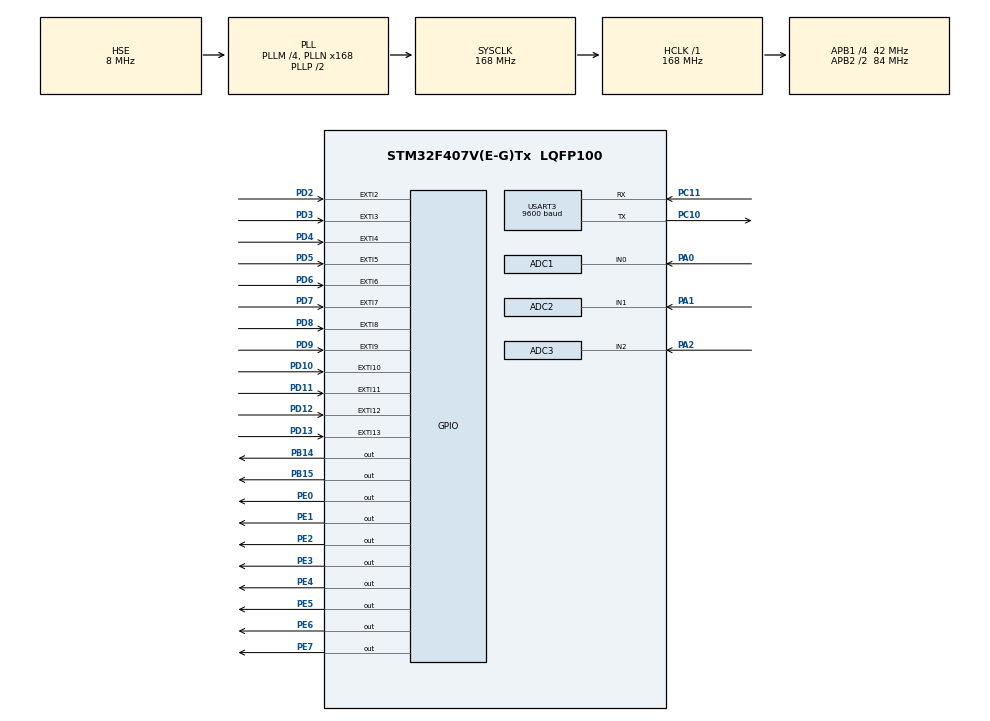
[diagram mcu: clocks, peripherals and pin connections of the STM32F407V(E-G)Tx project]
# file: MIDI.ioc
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ADC1.Channel-0\#ChannelRegularConversion=ADC_CHANNEL_0
ADC1.NbrOfConversionFlag=1
ADC1.Rank-0\#ChannelRegularConversion=1
ADC1.SamplingTime-0\#ChannelRegularConversion=ADC_SAMPLETIME_3CYCLES
ADC1.master=1
ADC2.Channel-0\#ChannelRegularConversion=ADC_CHANNEL_1
ADC2.NbrOfConversionFlag=1
ADC2.Rank-0\#ChannelRegularConversion=1
ADC2.SamplingTime-0\#ChannelRegularConversion=ADC_SAMPLETIME_3CYCLES
ADC3.Channel-0\#ChannelRegularConversion=ADC_CHANNEL_2
ADC3.NbrOfConversionFlag=1
ADC3.Rank-0\#ChannelRegularConversion=1
ADC3.SamplingTime-0\#ChannelRegularConversion=ADC_SAMPLETIME_3CYCLES
Mcu.Family=STM32F4
Mcu.Name=STM32F407V(E-G)Tx
Mcu.Package=LQFP100
NVIC.EXTI15_10_IRQn=true\:0\:0\:false\:false\:true\:true
NVIC.EXTI2_IRQn=true\:0\:0\:false\:false\:true\:true
NVIC.EXTI3_IRQn=true\:0\:0\:false\:false\:true\:true
NVIC.EXTI4_IRQn=true\:0\:0\:false\:false\:true\:true
NVIC.EXTI9_5_IRQn=true\:0\:0\:false\:false\:true\:true
NVIC.PriorityGroup=NVIC_PRIORITYGROUP_4
NVIC.TIM4_IRQn=true\:0\:0\:false\:false\:true\:true
NVIC.USART3_IRQn=true\:0\:0\:false\:false\:true\:true
PA0-WKUP.Signal=ADCx_IN0
PA1.Signal=ADCx_IN1
PA2.Signal=ADCx_IN2
PB14.Signal=GPIO_Output
PB15.Signal=GPIO_Output
PC10.Mode=Asynchronous
PC10.Signal=USART3_TX
PC11.Mode=Asynchronous
PC11.Signal=USART3_RX
PD10.GPIO_ModeDefaultEXTI=GPIO_MODE_IT_RISING_FALLING
PD10.Signal=GPXTI10
PD11.GPIO_ModeDefaultEXTI=GPIO_MODE_IT_RISING_FALLING
PD11.Signal=GPXTI11
PD12.GPIO_ModeDefaultEXTI=GPIO_MODE_IT_RISING_FALLING
PD12.Signal=GPXTI12
PD13.GPIO_ModeDefaultEXTI=GPIO_MODE_IT_RISING_FALLING
PD13.Signal=GPXTI13
PD2.GPIO_ModeDefaultEXTI=GPIO_MODE_IT_RISING_FALLING
PD2.Signal=GPXTI2
PD3.GPIO_ModeDefaultEXTI=GPIO_MODE_IT_RISING_FALLING
PD3.Signal=GPXTI3
PD4.GPIO_ModeDefaultEXTI=GPIO_MODE_IT_RISING_FALLING
PD4.Signal=GPXTI4
PD5.GPIO_ModeDefaultEXTI=GPIO_MODE_IT_RISING_FALLING
PD5.Signal=GPXTI5
PD6.GPIO_ModeDefaultEXTI=GPIO_MODE_IT_RISING_FALLING
PD6.Signal=GPXTI6
PD7.GPIO_ModeDefaultEXTI=GPIO_MODE_IT_RISING_FALLING
PD7.Signal=GPXTI7
PD8.GPIO_ModeDefaultEXTI=GPIO_MODE_IT_RISING_FALLING
PD8.Signal=GPXTI8
PD9.GPIO_ModeDefaultEXTI=GPIO_MODE_IT_RISING_FALLING
PD9.Signal=GPXTI9
PE0.Signal=GPIO_Output
PE1.Signal=GPIO_Output
PE2.Signal=GPIO_Output
PE3.Signal=GPIO_Output
PE4.Signal=GPIO_Output
PE5.Signal=GPIO_Output
PE6.Signal=GPIO_Output
PE7.Signal=GPIO_Output
PH0-OSC_IN.Mode=HSE-External-Oscillator
PH0-OSC_IN.Signal=RCC_OSC_IN
PH1-OSC_OUT.Mode=HSE-External-Oscillator
PH1-OSC_OUT.Signal=RCC_OSC_OUT
ProjectManager.HeapSize=0x200
ProjectManager.StackSize=0x400
ProjectManager.TargetToolchain=SW4STM32
RCC.48MHZClocksFreq_Value=84000000
RCC.AHBFreq_Value=168000000
RCC.APB1CLKDivider=RCC_HCLK_DIV4
RCC.APB1Freq_Value=42000000
RCC.APB1TimFreq_Value=84000000
RCC.APB2CLKDivider=RCC_HCLK_DIV2
RCC.APB2Freq_Value=84000000
RCC.APB2TimFreq_Value=168000000
RCC.CortexFreq_Value=168000000
RCC.HCLKFreq_Value=168000000
RCC.HSE_VALUE=8000000
RCC.HSI_VALUE=16000000
RCC.LSE_VALUE=32768
RCC.PLLM=4
RCC.PLLN=168
RCC.PLLSourceVirtual=RCC_PLLSOURCE_HSE
RCC.SYSCLKFreq_VALUE=168000000
RCC.SYSCLKSource=RCC_SYSCLKSOURCE_PLLCLK
RCC.VCOOutputFreq_Value=336000000
SH.ADCx_IN0.0=ADC1_IN0,IN0
SH.ADCx_IN1.0=ADC2_IN1,IN1
SH.ADCx_IN2.0=ADC3_IN2,IN2
TIM4.Period=839
TIM4.Prescaler=9999
USART3.BaudRate=9600
USART3.VirtualMode=VM_ASYNC
VP_TIM4_VS_ClockSourceINT.Mode=Internal
board=custom

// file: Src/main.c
/* USER CODE BEGIN Header */
/**
  ******************************************************************************
  * @file           : main.c
  * @brief          : Main program body
  ******************************************************************************
  ** This notice applies to any and all portions of this file
  * that are not between comment pairs USER CODE BEGIN and
  * USER CODE END. Other portions of this file, whether
  * inserted by the user or by software development tools
  * are owned by their respective copyright owners.
  *
  * COPYRIGHT(c) 2019 STMicroelectronics
  *
  * Redistribution and use in source and binary forms, with or without modification,
  * are permitted provided that the following conditions are met:
  *   1. Redistributions of source code must retain the above copyright notice,
  *      this list of conditions and the following disclaimer.
  *   2. Redistributions in binary form must reproduce the above copyright notice,
  *      this list of conditions and the following disclaimer in the documentation
  *      and/or other materials provided with the distribution.
  *   3. Neither the name of STMicroelectronics nor the names of its contributors
  *      may be used to endorse or promote products derived from this software
  *      without specific prior written permission.
  *
  * THIS SOFTWARE IS PROVIDED BY THE COPYRIGHT HOLDERS AND CONTRIBUTORS "AS IS"
  * AND ANY EXPRESS OR IMPLIED WARRANTIES, INCLUDING, BUT NOT LIMITED TO, THE
  * IMPLIED WARRANTIES OF MERCHANTABILITY AND FITNESS FOR A PARTICULAR PURPOSE ARE
  * DISCLAIMED. IN NO EVENT SHALL THE COPYRIGHT HOLDER OR CONTRIBUTORS BE LIABLE
  * FOR ANY DIRECT, INDIRECT, INCIDENTAL, SPECIAL, EXEMPLARY, OR CONSEQUENTIAL
  * DAMAGES (INCLUDING, BUT NOT LIMITED TO, PROCUREMENT OF SUBSTITUTE GOODS OR
  * SERVICES; LOSS OF USE, DATA, OR PROFITS; OR BUSINESS INTERRUPTION) HOWEVER
  * CAUSED AND ON ANY THEORY OF LIABILITY, WHETHER IN CONTRACT, STRICT LIABILITY,
  * OR TORT (INCLUDING NEGLIGENCE OR OTHERWISE) ARISING IN ANY WAY OUT OF THE USE
  * OF THIS SOFTWARE, EVEN IF ADVISED OF THE POSSIBILITY OF SUCH DAMAGE.
  *
  ******************************************************************************
  */
/* USER CODE END Header */

#include "main.h"
#include <math.h>

ADC_HandleTypeDef hadc1;
ADC_HandleTypeDef hadc2;
ADC_HandleTypeDef hadc3;

TIM_HandleTypeDef htim4;

UART_HandleTypeDef huart3;

/* USER CODE BEGIN PV */
#define DISP_1_ON   HAL_GPIO_WritePin(GPIOB, GPIO_PIN_15, GPIO_PIN_SET)
#define DISP_1_OFF  HAL_GPIO_WritePin(GPIOB, GPIO_PIN_15, GPIO_PIN_RESET)
#define DISP_2_ON   HAL_GPIO_WritePin(GPIOB, GPIO_PIN_14, GPIO_PIN_SET)
#define DISP_2_OFF  HAL_GPIO_WritePin(GPIOB, GPIO_PIN_14, GPIO_PIN_RESET)

#define DISP_VAL_NULL HAL_GPIO_WritePin(GPIOE, GPIO_PIN_0 | GPIO_PIN_1 | \
                                               GPIO_PIN_2 | GPIO_PIN_3 | \
                                               GPIO_PIN_4 | GPIO_PIN_5 | \
                                               GPIO_PIN_6 | GPIO_PIN_7 , \
                                               GPIO_PIN_SET)

#define DISP_VAL_0	HAL_GPIO_WritePin(GPIOE, GPIO_PIN_0 | GPIO_PIN_1 | \
                                              GPIO_PIN_2 | GPIO_PIN_3 | \
                                              GPIO_PIN_4 | GPIO_PIN_5 , \
                                              GPIO_PIN_RESET)
#define DISP_VAL_1	HAL_GPIO_WritePin(GPIOE, GPIO_PIN_1 | GPIO_PIN_2 , \
                                              GPIO_PIN_RESET)
#define DISP_VAL_2	HAL_GPIO_WritePin(GPIOE, GPIO_PIN_0 | GPIO_PIN_1 | \
                                              GPIO_PIN_3 | GPIO_PIN_4 | \
                                              GPIO_PIN_6 , \
                                              GPIO_PIN_RESET)
#define DISP_VAL_3	HAL_GPIO_WritePin(GPIOE, GPIO_PIN_0 | GPIO_PIN_1 | \
                                              GPIO_PIN_2 | GPIO_PIN_3 | \
                                              GPIO_PIN_6 , \
                                              GPIO_PIN_RESET)
#define DISP_VAL_4	HAL_GPIO_WritePin(GPIOE, GPIO_PIN_1 | GPIO_PIN_2 | \
    	                                       GPIO_PIN_5 | GPIO_PIN_6 , \
                                              GPIO_PIN_RESET)
#define DISP_VAL_5	HAL_GPIO_WritePin(GPIOE, GPIO_PIN_0 | GPIO_PIN_2 | \
                                              GPIO_PIN_3 | GPIO_PIN_5 | \
                                              GPIO_PIN_6 , \
                                              GPIO_PIN_RESET)
#define DISP_VAL_6	HAL_GPIO_WritePin(GPIOE, GPIO_PIN_0 | GPIO_PIN_2 | \
                                              GPIO_PIN_3 | GPIO_PIN_4 | \
                                              GPIO_PIN_5 | GPIO_PIN_6 , \
                                              GPIO_PIN_RESET)
#define DISP_VAL_7	HAL_GPIO_WritePin(GPIOE, GPIO_PIN_0 | GPIO_PIN_1 | \
                                              GPIO_PIN_2 , \
                                              GPIO_PIN_RESET)
#define DISP_VAL_8	HAL_GPIO_WritePin(GPIOE, GPIO_PIN_0 | GPIO_PIN_1 | \
                                              GPIO_PIN_2 | GPIO_PIN_3 | \
                                              GPIO_PIN_4 | GPIO_PIN_5 | \
                                              GPIO_PIN_6 , \
                                              GPIO_PIN_RESET)
#define DISP_VAL_9	HAL_GPIO_WritePin(GPIOE, GPIO_PIN_0 | GPIO_PIN_1 | \
                                              GPIO_PIN_2 | GPIO_PIN_3 | \
                                              GPIO_PIN_5 | GPIO_PIN_6 , \
                                              GPIO_PIN_RESET)

#define DISP_DOT  	HAL_GPIO_WritePin(GPIOE, GPIO_PIN_7 , \
       GPIO_PIN_RESET)

//licznik oktawy
int counter;

uint8_t value1;

uint8_t value2;
uint8_t check_value2 = 0;

uint8_t value3;
uint8_t check_value3 = 0;
/* USER CODE END PV */

void SystemClock_Config(void);
static void MX_GPIO_Init(void);
static void MX_USART3_UART_Init(void);
static void MX_ADC1_Init(void);
static void MX_ADC2_Init(void);
static void MX_ADC3_Init(void);
static void MX_TIM4_Init(void);
/* USER CODE BEGIN PFP */
/*Obs³uga potencjometrów*/
void HAL_TIM_PeriodElapsedCallback(TIM_HandleTypeDef *htim){
   	if(htim->Instance == TIM4)
   	{
   		DISP_2_OFF;
   		DISP_VAL_NULL;
		DISP_1_ON;
		switch(counter){
		    case 0: DISP_VAL_0; break;
		    case 1: DISP_VAL_1; break;
		    case 2: DISP_VAL_2; break;
		    case 3: DISP_VAL_3; break;
		    case 4: DISP_VAL_4; break;
		    case 5: DISP_VAL_5; break;
		    case 6: DISP_VAL_6; break;
		    case 7: DISP_VAL_7; break;
		    case 8: DISP_VAL_8; break;
		    case 9: DISP_VAL_9; break;
		    case 10: {
		    	DISP_1_OFF;
		    	DISP_VAL_NULL;
		    	DISP_2_ON;
		    	DISP_DOT;
		    	break;
		    }
		}
   		HAL_ADC_Start(&hadc1);
   		HAL_ADC_Start(&hadc2);
   		HAL_ADC_Start(&hadc3);
   		if(HAL_ADC_PollForConversion(&hadc1, 10) == HAL_OK)
   		{
   			value1 = HAL_ADC_GetValue(&hadc1)/32;
   			if(value1<12) counter = 0;
   			else if(value1>=12 && value1<24) counter = 1;
   			else if(value1>=24 && value1<36) counter = 2;
   			else if(value1>=36 && value1<48) counter = 3;
   			else if(value1>=48 && value1<60) counter = 4;
   			else if(value1>=60 && value1<72) counter = 5;
   			else if(value1>=72 && value1<84) counter = 6;
   			else if(value1>=84 && value1<96) counter = 7;
   			else if(value1>=96 && value1<108) counter = 8;
   			else if(value1>=108 && value1<120) counter = 9;
   			else if(value1>=120) counter = 10;
   		}

   		if(HAL_ADC_PollForConversion(&hadc2, 10) == HAL_OK)
   		{
   		   	value2 = HAL_ADC_GetValue(&hadc2)/32;
   		   	if(fabs(value2 - check_value2)>1)
   		   	{
   		   		uint8_t sendControl[3] = {177, 1, value2};
   		   	    HAL_UART_Transmit_IT(&huart3, sendControl, 3);
   				check_value2 = value2;
   		   	}
   		}

   		if(HAL_ADC_PollForConversion(&hadc3, 10) == HAL_OK)
   		{
   		    value3 = HAL_ADC_GetValue(&hadc3)/32;
   		    if(fabs(value3 - check_value3)>1)
   		   	{
   		   		uint8_t sendControl[3] = {178, 1, value3};
   		   		HAL_UART_Transmit_IT(&huart3, sendControl, 3);
   		   		check_value3 = value3;
   		   	}
   		}
    }
}

/*Obs³uga przycisków*/
void HAL_GPIO_EXTI_Callback(uint16_t GPIO_Pin){
/*Obs³uga pianina*/
	if(GPIO_Pin == GPIO_PIN_2 && HAL_GPIO_ReadPin(GPIOD, GPIO_PIN_2) == 0)
	{
			uint8_t sendControl[3] = {144, 0 + (12 * counter), 64};
		   	HAL_UART_Transmit_IT(&huart3, sendControl, 3);

	}
	else if(GPIO_Pin == GPIO_PIN_2 && HAL_GPIO_ReadPin(GPIOD, GPIO_PIN_2) == 1)
	{
			uint8_t sendControl[3] = {129, 0 + (12 * counter), 0};
		    HAL_UART_Transmit_IT(&huart3, sendControl, 3);
	}
	else if(GPIO_Pin == GPIO_PIN_3 && HAL_GPIO_ReadPin(GPIOD, GPIO_PIN_3) == 0)
	{
			uint8_t sendControl[3] = {144, 1 + (12 * counter), 64};
			HAL_UART_Transmit_IT(&huart3, sendControl, 3);

	}
	else if(GPIO_Pin == GPIO_PIN_3 && HAL_GPIO_ReadPin(GPIOD, GPIO_PIN_3) == 1)
	{
			uint8_t sendControl[3] = {129, 1 + (12 * counter), 0};
			HAL_UART_Transmit_IT(&huart3, sendControl, 3);
	}
	else if(GPIO_Pin == GPIO_PIN_4 && HAL_GPIO_ReadPin(GPIOD, GPIO_PIN_4) == 0)
	{
			uint8_t sendControl[3] = {144, 2 + (12 * counter), 64};
			HAL_UART_Transmit_IT(&huart3, sendControl, 3);
	}
	else if(GPIO_Pin == GPIO_PIN_4 && HAL_GPIO_ReadPin(GPIOD, GPIO_PIN_4) == 1)
	{
			uint8_t sendControl[3] = {129, 2 + (12 * counter), 0};
			HAL_UART_Transmit_IT(&huart3, sendControl, 3);
	}
	else if(GPIO_Pin == GPIO_PIN_5 && HAL_GPIO_ReadPin(GPIOD, GPIO_PIN_5) == 0)
	{
			uint8_t sendControl[3] = {144, 3 + (12 * counter), 64};
			HAL_UART_Transmit_IT(&huart3, sendControl, 3);
	}
	else if(GPIO_Pin == GPIO_PIN_5 && HAL_GPIO_ReadPin(GPIOD, GPIO_PIN_5) == 1)
	{
			uint8_t sendControl[3] = {129, 3 + (12 * counter), 0};
			HAL_UART_Transmit_IT(&huart3, sendControl, 3);
	}
	else if(GPIO_Pin == GPIO_PIN_6 && HAL_GPIO_ReadPin(GPIOD, GPIO_PIN_6) == 0)
	{
			uint8_t sendControl[3] = {144, 4 + (12 * counter), 64};
			HAL_UART_Transmit_IT(&huart3, sendControl, 3);
	}
	else if(GPIO_Pin == GPIO_PIN_6 && HAL_GPIO_ReadPin(GPIOD, GPIO_PIN_6) == 1)
	{
			uint8_t sendControl[3] = {129, 4 + (12 * counter), 0};
			HAL_UART_Transmit_IT(&huart3, sendControl, 3);
	}
	else if(GPIO_Pin == GPIO_PIN_7 && HAL_GPIO_ReadPin(GPIOD, GPIO_PIN_7) == 0)
	{
			uint8_t sendControl[3] = {144, 5 + (12 * counter), 64};
			HAL_UART_Transmit_IT(&huart3, sendControl, 3);
	}
	else if(GPIO_Pin == GPIO_PIN_7 && HAL_GPIO_ReadPin(GPIOD, GPIO_PIN_7) == 1)
	{
			uint8_t sendControl[3] = {129, 5 + (12 * counter), 0};
			HAL_UART_Transmit_IT(&huart3, sendControl, 3);
	}
	else if(GPIO_Pin == GPIO_PIN_8 && HAL_GPIO_ReadPin(GPIOD, GPIO_PIN_8) == 0)
	{
			uint8_t sendControl[3] = {144, 6 + (12 * counter), 64};
			HAL_UART_Transmit_IT(&huart3, sendControl, 3);
	}
	else if(GPIO_Pin == GPIO_PIN_8 && HAL_GPIO_ReadPin(GPIOD, GPIO_PIN_8) == 1)
	{
			uint8_t sendControl[3] = {129, 6 + (12 * counter), 0};
			HAL_UART_Transmit_IT(&huart3, sendControl, 3);
	}
	else if(GPIO_Pin == GPIO_PIN_9 && HAL_GPIO_ReadPin(GPIOD, GPIO_PIN_9) == 0)
	{
			uint8_t sendControl[3] = {144, 7 + (12 * counter), 64};
			HAL_UART_Transmit_IT(&huart3, sendControl, 3);
	}
	else if(GPIO_Pin == GPIO_PIN_9 && HAL_GPIO_ReadPin(GPIOD, GPIO_PIN_9) == 1)
	{
			uint8_t sendControl[3] = {129, 7 + (12 * counter), 0};
			HAL_UART_Transmit_IT(&huart3, sendControl, 3);
	}
	else if(GPIO_Pin == GPIO_PIN_10 && HAL_GPIO_ReadPin(GPIOD, GPIO_PIN_10) == 0)
	{
			uint8_t sendControl[3] = {144, 8 + (12 * counter), 64};
			HAL_UART_Transmit_IT(&huart3, sendControl, 3);
	}
	else if(GPIO_Pin == GPIO_PIN_10 && HAL_GPIO_ReadPin(GPIOD, GPIO_PIN_10) == 1)
	{
			uint8_t sendControl[3] = {129, 8 + (12 * counter), 0};
			HAL_UART_Transmit_IT(&huart3, sendControl, 3);
	}
	else if(GPIO_Pin == GPIO_PIN_11 && HAL_GPIO_ReadPin(GPIOD, GPIO_PIN_11) == 0)
	{
			uint8_t sendControl[3] = {144, 9 + (12 * counter), 64};
			HAL_UART_Transmit_IT(&huart3, sendControl, 3);
	}
	else if(GPIO_Pin == GPIO_PIN_11 && HAL_GPIO_ReadPin(GPIOD, GPIO_PIN_11) == 1)
	{
			uint8_t sendControl[3] = {129, 9 + (12 * counter), 0};
			HAL_UART_Transmit_IT(&huart3, sendControl, 3);
	}
	else if(GPIO_Pin == GPIO_PIN_12 && HAL_GPIO_ReadPin(GPIOD, GPIO_PIN_12) == 0)
	{
			uint8_t sendControl[3] = {144, 10 + (12 * counter), 64};
			HAL_UART_Transmit_IT(&huart3, sendControl, 3);
	}
	else if(GPIO_Pin == GPIO_PIN_12 && HAL_GPIO_ReadPin(GPIOD, GPIO_PIN_12) == 1)
	{
			uint8_t sendControl[3] = {129, 10 + (12 * counter), 0};
			HAL_UART_Transmit_IT(&huart3, sendControl, 3);
	}
	else if(GPIO_Pin == GPIO_PIN_13 && HAL_GPIO_ReadPin(GPIOD, GPIO_PIN_13) == 0)
	{
			uint8_t sendControl[3] = {144, 11 + (12 * counter), 64};
			HAL_UART_Transmit_IT(&huart3, sendControl, 3);
	}
	else if(GPIO_Pin == GPIO_PIN_13 && HAL_GPIO_ReadPin(GPIOD, GPIO_PIN_13) == 1)
	{
			uint8_t sendControl[3] = {129, 11 + (12 * counter), 0};
			HAL_UART_Transmit_IT(&huart3, sendControl, 3);
	}
}
/* USER CODE END PFP */

int main(void)
{

  /* MCU Configuration--------------------------------------------------------*/

  /* Reset of all peripherals, Initializes the Flash interface and the Systick. */
  HAL_Init();

  /* Configure the system clock */
  SystemClock_Config();

  /* Initialize all configured peripherals */
  MX_GPIO_Init();
  MX_USART3_UART_Init();
  MX_ADC1_Init();
  MX_ADC2_Init();
  MX_ADC3_Init();
  MX_TIM4_Init();
  /* USER CODE BEGIN 2 */
  HAL_TIM_Base_Start_IT(&htim4);
  /* USER CODE END 2 */

  /* Infinite loop */
  while (1)
  {

  }
}

void SystemClock_Config(void)
{
  RCC_OscInitTypeDef RCC_OscInitStruct = {0};
  RCC_ClkInitTypeDef RCC_ClkInitStruct = {0};

  /**Configure the main internal regulator output voltage
  */
  __HAL_RCC_PWR_CLK_ENABLE();
  __HAL_PWR_VOLTAGESCALING_CONFIG(PWR_REGULATOR_VOLTAGE_SCALE1);
  /**Initializes the CPU, AHB and APB busses clocks
  */
  RCC_OscInitStruct.OscillatorType = RCC_OSCILLATORTYPE_HSE;
  RCC_OscInitStruct.HSEState = RCC_HSE_ON;
  RCC_OscInitStruct.PLL.PLLState = RCC_PLL_ON;
  RCC_OscInitStruct.PLL.PLLSource = RCC_PLLSOURCE_HSE;
  RCC_OscInitStruct.PLL.PLLM = 4;
  RCC_OscInitStruct.PLL.PLLN = 168;
  RCC_OscInitStruct.PLL.PLLP = RCC_PLLP_DIV2;
  RCC_OscInitStruct.PLL.PLLQ = 4;
  if (HAL_RCC_OscConfig(&RCC_OscInitStruct) != HAL_OK)
  {
    Error_Handler();
  }
  /**Initializes the CPU, AHB and APB busses clocks
  */
  RCC_ClkInitStruct.ClockType = RCC_CLOCKTYPE_HCLK|RCC_CLOCKTYPE_SYSCLK
                              |RCC_CLOCKTYPE_PCLK1|RCC_CLOCKTYPE_PCLK2;
  RCC_ClkInitStruct.SYSCLKSource = RCC_SYSCLKSOURCE_PLLCLK;
  RCC_ClkInitStruct.AHBCLKDivider = RCC_SYSCLK_DIV1;
  RCC_ClkInitStruct.APB1CLKDivider = RCC_HCLK_DIV4;
  RCC_ClkInitStruct.APB2CLKDivider = RCC_HCLK_DIV2;

  if (HAL_RCC_ClockConfig(&RCC_ClkInitStruct, FLASH_LATENCY_5) != HAL_OK)
  {
    Error_Handler();
  }
}

static void MX_ADC1_Init(void)
{

  ADC_ChannelConfTypeDef sConfig = {0};

  /**Configure the global features of the ADC (Clock, Resolution, Data Alignment and number of conversion)
  */
  hadc1.Instance = ADC1;
  hadc1.Init.ClockPrescaler = ADC_CLOCK_SYNC_PCLK_DIV4;
  hadc1.Init.Resolution = ADC_RESOLUTION_12B;
  hadc1.Init.ScanConvMode = DISABLE;
  hadc1.Init.ContinuousConvMode = DISABLE;
  hadc1.Init.DiscontinuousConvMode = DISABLE;
  hadc1.Init.ExternalTrigConvEdge = ADC_EXTERNALTRIGCONVEDGE_NONE;
  hadc1.Init.ExternalTrigConv = ADC_SOFTWARE_START;
  hadc1.Init.DataAlign = ADC_DATAALIGN_RIGHT;
  hadc1.Init.NbrOfConversion = 1;
  hadc1.Init.DMAContinuousRequests = DISABLE;
  hadc1.Init.EOCSelection = ADC_EOC_SINGLE_CONV;
  if (HAL_ADC_Init(&hadc1) != HAL_OK)
  {
    Error_Handler();
  }
  /**Configure for the selected ADC regular channel its corresponding rank in the sequencer and its sample time.
  */
  sConfig.Channel = ADC_CHANNEL_0;
  sConfig.Rank = 1;
  sConfig.SamplingTime = ADC_SAMPLETIME_3CYCLES;
  if (HAL_ADC_ConfigChannel(&hadc1, &sConfig) != HAL_OK)
  {
    Error_Handler();
  }

}

static void MX_ADC2_Init(void)
{

  ADC_ChannelConfTypeDef sConfig = {0};

  /**Configure the global features of the ADC (Clock, Resolution, Data Alignment and number of conversion)
  */
  hadc2.Instance = ADC2;
  hadc2.Init.ClockPrescaler = ADC_CLOCK_SYNC_PCLK_DIV4;
  hadc2.Init.Resolution = ADC_RESOLUTION_12B;
  hadc2.Init.ScanConvMode = DISABLE;
  hadc2.Init.ContinuousConvMode = DISABLE;
  hadc2.Init.DiscontinuousConvMode = DISABLE;
  hadc2.Init.ExternalTrigConvEdge = ADC_EXTERNALTRIGCONVEDGE_NONE;
  hadc2.Init.ExternalTrigConv = ADC_SOFTWARE_START;
  hadc2.Init.DataAlign = ADC_DATAALIGN_RIGHT;
  hadc2.Init.NbrOfConversion = 1;
  hadc2.Init.DMAContinuousRequests = DISABLE;
  hadc2.Init.EOCSelection = ADC_EOC_SINGLE_CONV;
  if (HAL_ADC_Init(&hadc2) != HAL_OK)
  {
    Error_Handler();
  }
  /**Configure for the selected ADC regular channel its corresponding rank in the sequencer and its sample time.
  */
  sConfig.Channel = ADC_CHANNEL_1;
  sConfig.Rank = 1;
  sConfig.SamplingTime = ADC_SAMPLETIME_3CYCLES;
  if (HAL_ADC_ConfigChannel(&hadc2, &sConfig) != HAL_OK)
  {
    Error_Handler();
  }

}

static void MX_ADC3_Init(void)
{

  ADC_ChannelConfTypeDef sConfig = {0};

  /**Configure the global features of the ADC (Clock, Resolution, Data Alignment and number of conversion)
  */
  hadc3.Instance = ADC3;
  hadc3.Init.ClockPrescaler = ADC_CLOCK_SYNC_PCLK_DIV4;
  hadc3.Init.Resolution = ADC_RESOLUTION_12B;
  hadc3.Init.ScanConvMode = DISABLE;
  hadc3.Init.ContinuousConvMode = DISABLE;
  hadc3.Init.DiscontinuousConvMode = DISABLE;
  hadc3.Init.ExternalTrigConvEdge = ADC_EXTERNALTRIGCONVEDGE_NONE;
  hadc3.Init.ExternalTrigConv = ADC_SOFTWARE_START;
  hadc3.Init.DataAlign = ADC_DATAALIGN_RIGHT;
  hadc3.Init.NbrOfConversion = 1;
  hadc3.Init.DMAContinuousRequests = DISABLE;
  hadc3.Init.EOCSelection = ADC_EOC_SINGLE_CONV;
  if (HAL_ADC_Init(&hadc3) != HAL_OK)
  {
    Error_Handler();
  }
  /**Configure for the selected ADC regular channel its corresponding rank in the sequencer and its sample time.
  */
  sConfig.Channel = ADC_CHANNEL_2;
  sConfig.Rank = 1;
  sConfig.SamplingTime = ADC_SAMPLETIME_3CYCLES;
  if (HAL_ADC_ConfigChannel(&hadc3, &sConfig) != HAL_OK)
  {
    Error_Handler();
  }

}

static void MX_TIM4_Init(void)
{

  TIM_ClockConfigTypeDef sClockSourceConfig = {0};
  TIM_MasterConfigTypeDef sMasterConfig = {0};

  htim4.Instance = TIM4;
  htim4.Init.Prescaler = 9999;
  htim4.Init.CounterMode = TIM_COUNTERMODE_UP;
  htim4.Init.Period = 839;
  htim4.Init.ClockDivision = TIM_CLOCKDIVISION_DIV1;
  if (HAL_TIM_Base_Init(&htim4) != HAL_OK)
  {
    Error_Handler();
  }
  sClockSourceConfig.ClockSource = TIM_CLOCKSOURCE_INTERNAL;
  if (HAL_TIM_ConfigClockSource(&htim4, &sClockSourceConfig) != HAL_OK)
  {
    Error_Handler();
  }
  sMasterConfig.MasterOutputTrigger = TIM_TRGO_RESET;
  sMasterConfig.MasterSlaveMode = TIM_MASTERSLAVEMODE_DISABLE;
  if (HAL_TIMEx_MasterConfigSynchronization(&htim4, &sMasterConfig) != HAL_OK)
  {
    Error_Handler();
  }

}

static void MX_USART3_UART_Init(void)
{

  huart3.Instance = USART3;
  huart3.Init.BaudRate = 9600;
  huart3.Init.WordLength = UART_WORDLENGTH_8B;
  huart3.Init.StopBits = UART_STOPBITS_1;
  huart3.Init.Parity = UART_PARITY_NONE;
  huart3.Init.Mode = UART_MODE_TX_RX;
  huart3.Init.HwFlowCtl = UART_HWCONTROL_NONE;
  huart3.Init.OverSampling = UART_OVERSAMPLING_16;
  if (HAL_UART_Init(&huart3) != HAL_OK)
  {
    Error_Handler();
  }

}

static void MX_GPIO_Init(void)
{
  GPIO_InitTypeDef GPIO_InitStruct = {0};

  /* GPIO Ports Clock Enable */
  __HAL_RCC_GPIOE_CLK_ENABLE();
  __HAL_RCC_GPIOH_CLK_ENABLE();
  __HAL_RCC_GPIOA_CLK_ENABLE();
  __HAL_RCC_GPIOB_CLK_ENABLE();
  __HAL_RCC_GPIOD_CLK_ENABLE();
  __HAL_RCC_GPIOC_CLK_ENABLE();

  /*Configure GPIO pin Output Level */
  HAL_GPIO_WritePin(GPIOE, GPIO_PIN_2|GPIO_PIN_3|GPIO_PIN_4|GPIO_PIN_5
                          |GPIO_PIN_6|GPIO_PIN_7|GPIO_PIN_0|GPIO_PIN_1, GPIO_PIN_RESET);

  /*Configure GPIO pin Output Level */
  HAL_GPIO_WritePin(GPIOB, GPIO_PIN_14|GPIO_PIN_15, GPIO_PIN_RESET);

  /*Configure GPIO pins : PE2 PE3 PE4 PE5
                           PE6 PE7 PE0 PE1 */
  GPIO_InitStruct.Pin = GPIO_PIN_2|GPIO_PIN_3|GPIO_PIN_4|GPIO_PIN_5
                          |GPIO_PIN_6|GPIO_PIN_7|GPIO_PIN_0|GPIO_PIN_1;
  GPIO_InitStruct.Mode = GPIO_MODE_OUTPUT_PP;
  GPIO_InitStruct.Pull = GPIO_NOPULL;
  GPIO_InitStruct.Speed = GPIO_SPEED_FREQ_LOW;
  HAL_GPIO_Init(GPIOE, &GPIO_InitStruct);

  /*Configure GPIO pins : PB14 PB15 */
  GPIO_InitStruct.Pin = GPIO_PIN_14|GPIO_PIN_15;
  GPIO_InitStruct.Mode = GPIO_MODE_OUTPUT_PP;
  GPIO_InitStruct.Pull = GPIO_NOPULL;
  GPIO_InitStruct.Speed = GPIO_SPEED_FREQ_LOW;
  HAL_GPIO_Init(GPIOB, &GPIO_InitStruct);

  /*Configure GPIO pins : PD8 PD9 PD10 PD11
                           PD12 PD13 PD2 PD3
                           PD4 PD5 PD6 PD7 */
  GPIO_InitStruct.Pin = GPIO_PIN_8|GPIO_PIN_9|GPIO_PIN_10|GPIO_PIN_11
                          |GPIO_PIN_12|GPIO_PIN_13|GPIO_PIN_2|GPIO_PIN_3
                          |GPIO_PIN_4|GPIO_PIN_5|GPIO_PIN_6|GPIO_PIN_7;
  GPIO_InitStruct.Mode = GPIO_MODE_IT_RISING_FALLING;
  GPIO_InitStruct.Pull = GPIO_NOPULL;
  HAL_GPIO_Init(GPIOD, &GPIO_InitStruct);

  /* EXTI interrupt init*/
  HAL_NVIC_SetPriority(EXTI2_IRQn, 0, 0);
  HAL_NVIC_EnableIRQ(EXTI2_IRQn);

  HAL_NVIC_SetPriority(EXTI3_IRQn, 0, 0);
  HAL_NVIC_EnableIRQ(EXTI3_IRQn);

  HAL_NVIC_SetPriority(EXTI4_IRQn, 0, 0);
  HAL_NVIC_EnableIRQ(EXTI4_IRQn);

  HAL_NVIC_SetPriority(EXTI9_5_IRQn, 0, 0);
  HAL_NVIC_EnableIRQ(EXTI9_5_IRQn);

  HAL_NVIC_SetPriority(EXTI15_10_IRQn, 0, 0);
  HAL_NVIC_EnableIRQ(EXTI15_10_IRQn);

}

void Error_Handler(void)
{
}

/************************ (C) COPYRIGHT STMicroelectronics *****END OF FILE****/
